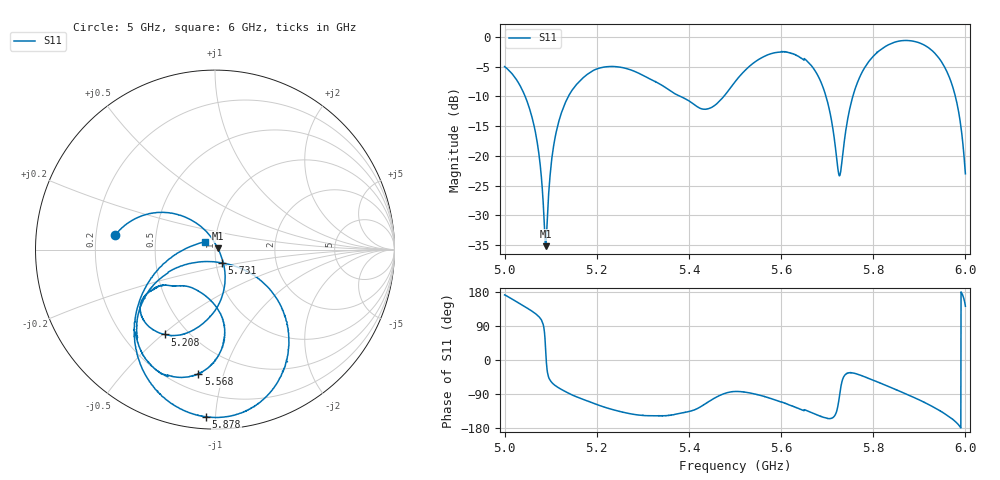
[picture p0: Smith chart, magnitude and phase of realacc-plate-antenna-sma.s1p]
# HZ S RI R 50
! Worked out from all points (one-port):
!   2020 points, 5 GHz to 6 GHz, reference 50 ohm
!   lowest |S11| = -35.2 dB at 5.089 GHz (marker M1), VSWR 1.04, Z = 51.6 + j0.747 ohm
!   |S11| at or under -10 dB: 5.045 GHz to 5.138 GHz (93.63 MHz wide, 1.84 % of centre); 5.382 GHz to 5.475 GHz (93.62 MHz wide, 1.72 % of centre); 5.698 GHz to 5.756 GHz (58.09 MHz wide, 1.01 % of centre)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
!   S11 on the Smith chart (normalised r, x): 5 GHz: 0.28, +0.07; 5.208 GHz: 0.37, -0.51; 5.568 GHz: 0.31, -0.83; 5.731 GHz: 1.07, -0.16; 5.878 GHz: 0.07, -0.95; 6 GHz: 0.89, +0.08
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5e9  -0.5583 0.0799
5.034175e9  -0.3262 0.2066
5.059931e9  -0.1294 0.1632
5.07479e9  -0.0412 0.0925
5.089153e9  0.0159 0.00724
5.105003e9  0.0517 -0.0997
5.12531e9  0.0463 -0.2383
5.157504e9  -0.0551 -0.4009
5.207529e9  -0.2803 -0.4728
5.250124e9  -0.4029 -0.3863
5.375434e9  -0.2557 -0.2001
5.440317e9  -0.0923 -0.2307
5.500248e9  0.0495 -0.4177
5.567608e9  -0.093 -0.693
5.625062e9  -0.3791 -0.6176
5.684993e9  -0.3654 -0.2296
5.705795e9  -0.2127 -0.1003
5.724121e9  -0.0321 -0.0666
5.731055e9  0.0381 -0.0736
5.750372e9  0.2207 -0.1435
5.773651e9  0.3688 -0.3182
5.807331e9  0.397 -0.6173
5.875186e9  -0.0273 -0.9334
5.877663e9  -0.0489 -0.9313
5.926697e9  -0.407 -0.6597
5.960872e9  -0.4177 -0.2777
5.983161e9  -0.2552 -0.052
6.000001e9  -0.0556 0.0438
